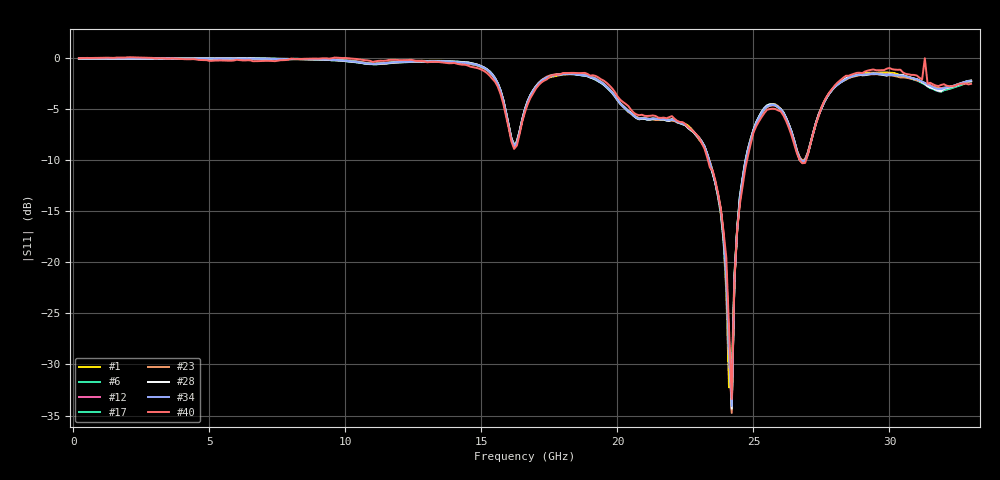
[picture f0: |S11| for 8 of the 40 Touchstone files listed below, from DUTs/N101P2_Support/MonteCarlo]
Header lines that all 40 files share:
# GHZ S RI R 50
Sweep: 200 MHz to 33 GHz
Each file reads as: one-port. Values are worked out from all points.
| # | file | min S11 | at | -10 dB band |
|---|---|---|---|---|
| 1 | N101P2_2.s2p | -32.2 dB | 24.1 GHz | 1.333 GHz wide |
| 2 | N101P2_3.s2p | -31.8 dB | 24.2 GHz | 1.331 GHz wide |
| 3 | N101P2_4.s2p | -33.9 dB | 24.2 GHz | 1.356 GHz wide |
| 4 | N101P2_7.s2p | -32.1 dB | 24.2 GHz | 1.367 GHz wide |
| 5 | N101P2_9.s2p | -33.9 dB | 24.2 GHz | 1.333 GHz wide |
| 6 | N101P2_12.s2p | -32.6 dB | 24.2 GHz | 1.338 GHz wide |
| 7 | N101P2_14.s2p | -31.8 dB | 24.2 GHz | 1.34 GHz wide |
| 8 | N101P2_17.s2p | -34.3 dB | 24.2 GHz | 1.375 GHz wide |
| 9 | N101P2_19.s2p | -34.9 dB | 24.1 GHz | 1.287 GHz wide |
| 10 | N101P2_21.s2p | -34.6 dB | 24.2 GHz | 1.365 GHz wide |
| 11 | N101P2_22.s2p | -31.7 dB | 24.1 GHz | 1.333 GHz wide |
| 12 | N101P2_28.s2p | -34.4 dB | 24.2 GHz | 1.364 GHz wide |
| 13 | N101P2_30.s2p | -31.3 dB | 24.2 GHz | 1.343 GHz wide |
| 14 | N101P2_31.s2p | -33.2 dB | 24.2 GHz | 1.411 GHz wide |
| 15 | N101P2_33.s2p | -32.4 dB | 24.2 GHz | 1.33 GHz wide |
| 16 | N101P2_34.s2p | -33.6 dB | 24.2 GHz | 1.341 GHz wide |
| 17 | N101P2_36.s2p | -34.1 dB | 24.2 GHz | 1.357 GHz wide |
| 18 | N101P2_38.s2p | -32.7 dB | 24.2 GHz | 1.328 GHz wide |
| 19 | N101P2_40.s2p | -32.1 dB | 24.2 GHz | 1.378 GHz wide |
| 20 | N101P2_43.s2p | -34.3 dB | 24.2 GHz | 1.417 GHz wide |
| 21 | N101P2_45.s2p | -34.1 dB | 24.2 GHz | 1.331 GHz wide |
| 22 | N101P2_46.s2p | -33.9 dB | 24.2 GHz | 1.398 GHz wide |
| 23 | N101P2_48.s2p | -34.8 dB | 24.2 GHz | 1.331 GHz wide |
| 24 | N101P2_51.s2p | -31.8 dB | 24.2 GHz | 1.319 GHz wide |
| 25 | N101P2_53.s2p | -31.7 dB | 24.2 GHz | 1.346 GHz wide |
| 26 | N101P2_54.s2p | -31.4 dB | 24.2 GHz | 1.365 GHz wide |
| 27 | N101P2_56.s2p | -31.4 dB | 24.1 GHz | 1.375 GHz wide |
| 28 | N101P2_58.s2p | -34.3 dB | 24.2 GHz | 1.35 GHz wide |
| 29 | N101P2_61.s2p | -35.6 dB | 24.2 GHz | 1.326 GHz wide |
| 30 | N101P2_62.s2p | -32.5 dB | 24.2 GHz | 1.351 GHz wide |
| 31 | N101P2_64.s2p | -32.0 dB | 24.1 GHz | 1.314 GHz wide |
| 32 | N101P2_67.s2p | -34.3 dB | 24.2 GHz | 1.339 GHz wide |
| 33 | N101P2_68.s2p | -31.7 dB | 24.2 GHz | 1.347 GHz wide |
| 34 | N101P2_70.s2p | -34.1 dB | 24.2 GHz | 1.343 GHz wide |
| 35 | N101P2_71.s2p | -34.0 dB | 24.2 GHz | 1.337 GHz wide |
| 36 | N101P2_72.s2p | -34.2 dB | 24.2 GHz | 1.321 GHz wide |
| 37 | N101P2_73.s2p | -34.1 dB | 24.2 GHz | 1.316 GHz wide |
| 38 | N101P2_74.s2p | -31.6 dB | 24.2 GHz | 1.329 GHz wide |
| 39 | N101P2_75.s2p | -31.1 dB | 24.2 GHz | 1.425 GHz wide |
| 40 | N101P2_78.s2p | -33.4 dB | 24.2 GHz | 1.435 GHz wide |
